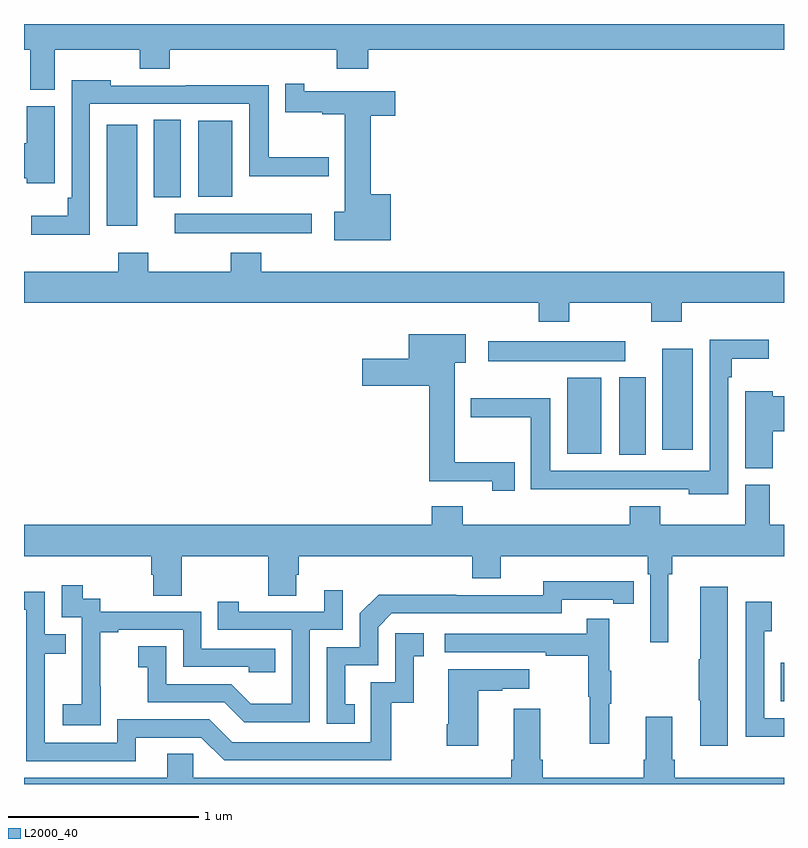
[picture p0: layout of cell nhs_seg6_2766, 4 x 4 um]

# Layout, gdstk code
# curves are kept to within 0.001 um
import gdstk
lib = gdstk.Library(unit=1e-6, precision=1e-09)
def R(c, l, rs):  # rectangles x0, y0, x1, y1
    for r in rs: c.add(gdstk.rectangle(r[:2], r[2:], *l))
def P(c, l, *ps):  # polygons
    for p in ps: c.add(gdstk.Polygon(p, *l))
L2000_40 = (2000, 40)

nhs_seg6_2766 = lib.new_cell('nhs_seg6_2766')
R(nhs_seg6_2766, L2000_40, [(278.984,915.935,279,916.138), (278.132,917.233,278.272,917.641), (277.859,917.237,278.038,917.638), (278.36,917.259,278.521,917.791), (277.443,917.726,278.164,917.83), (275.793,918.398,276.514,918.502), (275.435,918.438,275.596,918.97), (275.684,918.587,275.824,918.995), (275.918,918.59,276.097,918.991)])
P(nhs_seg6_2766, L2000_40, [(275.161,919.364),(275.608,919.364),(275.608,919.265),(275.768,919.265),(275.768,919.364),(276.647,919.364),(276.647,919.265),(276.812,919.265),(276.812,919.364),(279,919.364),(279,919.5),(275,919.5),(275,919.364),(275.033,919.364),(275.033,919.153),(275.161,919.153)],
  [(275.346,919.08),(276.185,919.08),(276.185,918.698),(276.604,918.698),(276.604,918.798),(276.289,918.798),(276.289,919.178),(275.851,919.178),(275.851,919.176),(275.457,919.176),(275.457,919.204),(275.25,919.204),(275.25,918.586),(275.23,918.586),(275.23,918.49),(275.037,918.49),(275.037,918.392),(275.346,918.392)],
  [(276.931,918.604),(276.824,918.604),(276.824,919.018),(276.955,919.018),(276.955,919.147),(276.474,919.147),(276.474,919.186),(276.374,919.186),(276.374,919.036),(276.57,919.036),(276.57,919.025),(276.689,919.025),(276.689,918.512),(276.633,918.512),(276.633,918.362),(276.931,918.362)],
  [(275.161,919.068),(275.015,919.068),(275.015,918.872),(275,918.872),(275,918.689),(275.015,918.689),(275.015,918.662),(275.161,918.662)],
  [(277.869,918.032),(278.302,918.032),(278.302,917.933),(278.462,917.933),(278.462,918.032),(279,918.032),(279,918.196),(276.248,918.196),(276.248,918.295),(276.088,918.295),(276.088,918.196),(275.655,918.196),(275.655,918.295),(275.495,918.295),(275.495,918.196),(275,918.196),(275,918.032),(277.709,918.032),(277.709,917.933),(277.869,917.933)],
  [(277.582,917.193),(277.267,917.193),(277.267,917.717),(277.324,917.717),(277.324,917.866),(277.025,917.866),(277.025,917.739),(276.78,917.739),(276.78,917.597),(277.133,917.597),(277.133,917.093),(277.465,917.093),(277.465,917.043),(277.582,917.043)],
  [(278.706,917.642),(278.726,917.642),(278.726,917.738),(278.92,917.738),(278.92,917.837),(278.61,917.837),(278.61,917.148),(277.771,917.148),(277.771,917.531),(277.352,917.531),(277.352,917.431),(277.667,917.431),(277.667,917.051),(278.105,917.051),(278.105,917.052),(278.499,917.052),(278.499,917.024),(278.706,917.024)],
  [(278.942,917.357),(279,917.357),(279,917.54),(278.942,917.54),(278.942,917.566),(278.795,917.566),(278.795,917.161),(278.942,917.161)],
  [(278.392,916.604),(278.411,916.604),(278.411,916.7),(279,916.7),(279,916.864),(278.924,916.864),(278.924,917.076),(278.795,917.076),(278.795,916.864),(278.349,916.864),(278.349,916.963),(278.189,916.963),(278.189,916.864),(277.31,916.864),(277.31,916.963),(277.145,916.963),(277.145,916.864),(275,916.864),(275,916.7),(275.669,916.7),(275.669,916.602),(275.681,916.602),(275.681,916.492),(275.829,916.492),(275.829,916.7),(276.286,916.7),(276.286,916.492),(276.433,916.492),(276.433,916.602),(276.446,916.602),(276.446,916.7),(277.358,916.7),(277.358,916.583),(277.51,916.583),(277.51,916.7),(278.282,916.7),(278.282,916.604),(278.295,916.604),(278.295,916.245),(278.392,916.245)],
  [(276.74,915.921),(276.691,915.921),(276.691,916.125),(276.864,916.125),(276.864,916.326),(276.936,916.398),(277.83,916.398),(277.83,916.47),(278.102,916.47),(278.102,916.45),(278.21,916.45),(278.21,916.566),(277.734,916.567),(277.734,916.494),(277.274,916.494),(277.274,916.496),(276.866,916.496),(276.768,916.398),(276.768,916.221),(276.594,916.221),(276.594,915.816),(276.74,915.816)],
  [(275.403,916.015),(275.402,916.015),(275.402,916.299),(275.497,916.299),(275.497,916.311),(275.838,916.311),(275.838,916.116),(276.183,916.116),(276.183,916.089),(276.323,916.089),(276.323,916.212),(275.934,916.212),(275.934,916.407),(275.4,916.407),(275.4,916.476),(275.308,916.476),(275.308,916.546),(275.199,916.546),(275.199,916.377),(275.304,916.377),(275.304,916.148),(275.303,916.148),(275.303,915.919),(275.205,915.919),(275.205,915.809),(275.403,915.809)],
  [(278.704,916.537),(278.558,916.537),(278.558,916.157),(278.551,916.157),(278.551,915.94),(278.558,915.94),(278.558,915.702),(278.704,915.702)],
  [(276.504,916.311),(276.678,916.311),(276.678,916.519),(276.581,916.519),(276.581,916.407),(276.13,916.407),(276.13,916.459),(276.019,916.459),(276.019,916.311),(276.408,916.311),(276.408,915.922),(276.194,915.922),(276.09,916.026),(275.748,916.026),(275.748,916.225),(275.601,916.225),(275.601,916.115),(275.65,916.115),(275.65,915.93),(276.053,915.93),(276.158,915.825),(276.504,915.825)],
  [(275.587,915.744),(275.934,915.744),(276.054,915.624),(276.934,915.624),(276.934,915.927),(277.052,915.927),(277.052,916.173),(277.105,916.173),(277.105,916.294),(276.954,916.294),(276.954,916.035),(276.825,916.035),(276.825,915.72),(276.096,915.72),(275.976,915.84),(275.49,915.84),(275.49,915.717),(275.109,915.717),(275.109,916.186),(275.219,916.186),(275.219,916.287),(275.109,916.287),(275.109,916.512),(275,916.512),(275,916.416),(275.013,916.416),(275.013,915.621),(275.587,915.621)],
  [(279,915.846),(278.895,915.846),(278.895,916.303),(278.935,916.303),(278.935,916.459),(278.799,916.459),(278.799,915.749),(279,915.749)],
  [(278.081,915.923),(278.092,915.923),(278.092,916.097),(278.081,916.097),(278.081,916.369),(277.963,916.369),(277.963,916.29),(277.215,916.29),(277.215,916.194),(277.747,916.194),(277.747,916.174),(277.971,916.174),(277.971,915.96),(277.978,915.96),(277.978,915.711),(278.081,915.711)],
  [(277.39,915.991),(277.517,915.991),(277.517,916.001),(277.66,916.001),(277.66,916.105),(277.232,916.105),(277.232,915.814),(277.225,915.814),(277.225,915.702),(277.39,915.702)],
  [(279,915.532),(278.426,915.532),(278.426,915.628),(278.413,915.628),(278.413,915.853),(278.273,915.853),(278.273,915.628),(278.261,915.628),(278.261,915.532),(277.73,915.532),(277.73,915.628),(277.717,915.628),(277.717,915.895),(277.577,915.895),(277.577,915.628),(277.565,915.628),(277.565,915.532),(275.892,915.532),(275.892,915.659),(275.753,915.659),(275.753,915.532),(275,915.532),(275,915.5),(279,915.5)])

lib.write_gds('nhs_seg6_2766.gds')
